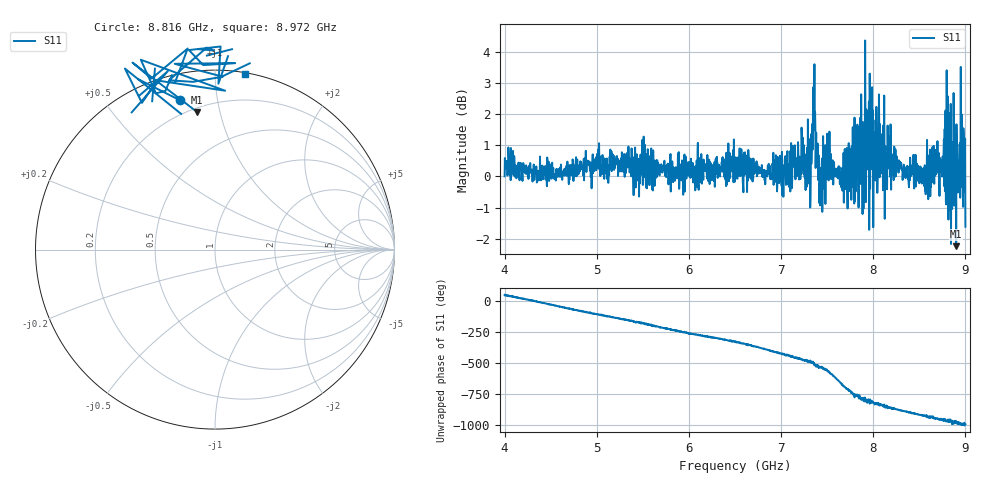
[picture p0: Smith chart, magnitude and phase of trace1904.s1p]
! Created with skrf 1.8.0 (http://scikit-rf.org).
# Hz S RI R 50.0
!freq ReS11 ImS11
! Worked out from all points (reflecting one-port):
!   1601 points, 4 GHz to 9 GHz, reference 50 ohm
!   lowest |S11| = -2.2 dB at 8.9 GHz (marker M1), VSWR 7.81, Z = 11.2 + j42.7 ohm
!   phase of S11 starts at 51 deg and turns -1045 deg over the sweep
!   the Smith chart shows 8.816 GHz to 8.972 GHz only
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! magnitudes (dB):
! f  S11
! 4 GHz  0.0
! 4.625 GHz  -0.1
! 5.25 GHz  0.2
! 5.875 GHz  0.3
! 6.5 GHz  -0.2
! 7.078 GHz  0.4
! 7.125 GHz  0.5
! 7.297 GHz  -0.2
! 7.362 GHz  3.6
! 7.428 GHz  -0.2
! 7.512 GHz  0.8
! 7.662 GHz  0.1
! 7.75 GHz  0.3
! 7.903 GHz  0.8
! 7.928 GHz  0.3
! 7.941 GHz  2.0
! 8.097 GHz  0.8
! 8.147 GHz  0.4
! 8.178 GHz  1.3
! 8.375 GHz  0.2
! 8.581 GHz  0.2
! 8.766 GHz  1.2
! 8.788 GHz  -0.8
! 8.822 GHz  2.0
! 8.841 GHz  2.3
! 8.9 GHz  -2.2
! 8.972 GHz  -0.1
! 9 GHz  -1.6
